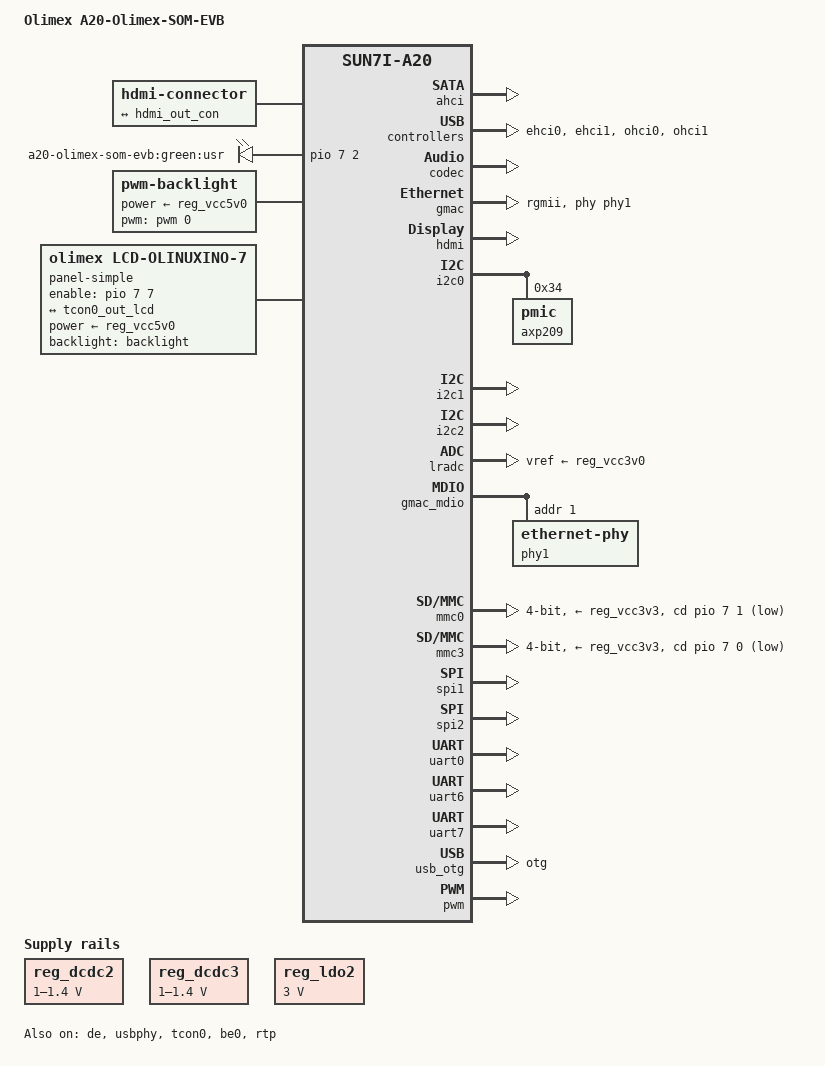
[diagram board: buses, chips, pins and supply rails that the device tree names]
/*
 * Copyright 2015 - Marcus Cooper <codekipper@gmail.com>
 * Copyright 2015 - Karsten Merker <merker@debian.org>
 *
 * This file is dual-licensed: you can use it either under the terms
 * of the GPL or the X11 license, at your option. Note that this dual
 * licensing only applies to this file, and not this project as a
 * whole.
 *
 *  a) This file is free software; you can redistribute it and/or
 *     modify it under the terms of the GNU General Public License as
 *     published by the Free Software Foundation; either version 2 of the
 *     License, or (at your option) any later version.
 *
 *     This file is distributed in the hope that it will be useful,
 *     but WITHOUT ANY WARRANTY; without even the implied warranty of
 *     MERCHANTABILITY or FITNESS FOR A PARTICULAR PURPOSE.  See the
 *     GNU General Public License for more details.
 *
 * Or, alternatively,
 *
 *  b) Permission is hereby granted, free of charge, to any person
 *     obtaining a copy of this software and associated documentation
 *     files (the "Software"), to deal in the Software without
 *     restriction, including without limitation the rights to use,
 *     copy, modify, merge, publish, distribute, sublicense, and/or
 *     sell copies of the Software, and to permit persons to whom the
 *     Software is furnished to do so, subject to the following
 *     conditions:
 *
 *     The above copyright notice and this permission notice shall be
 *     included in all copies or substantial portions of the Software.
 *
 *     THE SOFTWARE IS PROVIDED "AS IS", WITHOUT WARRANTY OF ANY KIND,
 *     EXPRESS OR IMPLIED, INCLUDING BUT NOT LIMITED TO THE WARRANTIES
 *     OF MERCHANTABILITY, FITNESS FOR A PARTICULAR PURPOSE AND
 *     NONINFRINGEMENT. IN NO EVENT SHALL THE AUTHORS OR COPYRIGHT
 *     HOLDERS BE LIABLE FOR ANY CLAIM, DAMAGES OR OTHER LIABILITY,
 *     WHETHER IN AN ACTION OF CONTRACT, TORT OR OTHERWISE, ARISING
 *     FROM, OUT OF OR IN CONNECTION WITH THE SOFTWARE OR THE USE OR
 *     OTHER DEALINGS IN THE SOFTWARE.
 */

/dts-v1/;
#include "sun7i-a20.dtsi"
#include "sunxi-common-regulators.dtsi"

#include <dt-bindings/gpio/gpio.h>
#include <dt-bindings/input/input.h>
#include <dt-bindings/interrupt-controller/irq.h>

/ {
	model = "Olimex A20-Olimex-SOM-EVB";
	compatible = "olimex,a20-olimex-som-evb", "allwinner,sun7i-a20";

	aliases {
		serial0 = &uart0;
	};

	chosen {
		#address-cells = <1>;
		#size-cells = <1>;
		
		stdout-path = "serial0:115200n8";

		framebuffer-lcd0 {
			reg = <0x20000000 1536000>;
			width = <800>;
			stride = <3200>;
			height = <480>;
			format = "a8r8g8b8";
			status = "okay";
		};
	};

	hdmi-connector {
		compatible = "hdmi-connector";
		type = "a";

		port {
			hdmi_con_in: endpoint {
				remote-endpoint = <&hdmi_out_con>;
			};
		};
	};

	leds {
		compatible = "gpio-leds";

		green1 {
			label = "a20-olimex-som-evb:green:usr";
			gpios = <&pio 7 2 GPIO_ACTIVE_HIGH>;
			default-state = "on";
		};
	};

	backlight: backlight {
		compatible = "pwm-backlight";
		power-supply = <&reg_vcc5v0>;
		pwms = <&pwm 0 1000000 0>;
		brightness-levels = <0 10 20 30 40 50 60 70 80 90 100>;
		default-brightness-level = <8>;
	};

	panel-simple {
		compatible = "olimex,lcd-olinuxino-7";
		status = "okay";

		enable-gpios = <&pio 7 7 GPIO_ACTIVE_HIGH>;
		power-supply = <&reg_vcc5v0>;

		backlight = <&backlight>;

		port {
			panel_input: endpoint@0 {
				remote-endpoint = <&tcon0_out_lcd>;
			};
		};
	};
};

&ahci {
	target-supply = <&reg_ahci_5v>;
	status = "okay";
};

&de {
	status = "okay";
};

&ehci0 {
	status = "okay";
};

&ehci1 {
	status = "okay";
};

&cpu0 {
	cpu-supply = <&reg_dcdc2>;
};

&codec {
	status = "okay";
};

&gmac {
	pinctrl-names = "default";
	pinctrl-0 = <&gmac_rgmii_pins>;
	phy-handle = <&phy1>;
	phy-mode = "rgmii";
	status = "okay";
};

&hdmi {
	status = "okay";
};

&hdmi_out {
	hdmi_out_con: endpoint {
		remote-endpoint = <&hdmi_con_in>;
	};
};

&i2c0 {
	status = "okay";

	axp209: pmic@34 {
		reg = <0x34>;
		interrupt-parent = <&nmi_intc>;
		interrupts = <0 IRQ_TYPE_LEVEL_LOW>;
	};
};

&i2c1 {
	status = "okay";
};

&i2c2 {
	status = "okay";
};

&lradc {
	vref-supply = <&reg_vcc3v0>;
	status = "okay";

	button-190 {
		label = "Volume Up";
		linux,code = <KEY_VOLUMEUP>;
		channel = <0>;
		voltage = <190000>;
	};

	button-390 {
		label = "Volume Down";
		linux,code = <KEY_VOLUMEDOWN>;
		channel = <0>;
		voltage = <390000>;
	};

	button-600 {
		label = "Menu";
		linux,code = <KEY_MENU>;
		channel = <0>;
		voltage = <600000>;
	};

	button-800 {
		label = "Search";
		linux,code = <KEY_SEARCH>;
		channel = <0>;
		voltage = <800000>;
	};

	button-980 {
		label = "Home";
		linux,code = <KEY_HOMEPAGE>;
		channel = <0>;
		voltage = <980000>;
	};

	button-1180 {
		label = "Esc";
		linux,code = <KEY_ESC>;
		channel = <0>;
		voltage = <1180000>;
	};

	button-1400 {
		label = "Enter";
		linux,code = <KEY_ENTER>;
		channel = <0>;
		voltage = <1400000>;
	};
};

&gmac_mdio {
	phy1: ethernet-phy@1 {
		reg = <1>;
	};
};

&mmc0 {
	vmmc-supply = <&reg_vcc3v3>;
	bus-width = <4>;
	cd-gpios = <&pio 7 1 GPIO_ACTIVE_LOW>; /* PH1 */
	status = "okay";
};

&mmc3 {
	vmmc-supply = <&reg_vcc3v3>;
	bus-width = <4>;
	cd-gpios = <&pio 7 0 GPIO_ACTIVE_LOW>; /* PH0 */
	status = "okay";
};

&ohci0 {
	status = "okay";
};

&ohci1 {
	status = "okay";
};

&otg_sram {
	status = "okay";
};

&pio {
	led_pins_olimex_som_evb: led-pins {
		pins = "PH2";
		function = "gpio_out";
		drive-strength = <20>;
	};
};

&reg_ahci_5v {
	gpio = <&pio 2 3 GPIO_ACTIVE_HIGH>;
	status = "okay";
};

#include "axp209.dtsi"

&reg_dcdc2 {
	regulator-always-on;
	regulator-min-microvolt = <1000000>;
	regulator-max-microvolt = <1400000>;
	regulator-name = "vdd-cpu";
};

&reg_dcdc3 {
	regulator-always-on;
	regulator-min-microvolt = <1000000>;
	regulator-max-microvolt = <1400000>;
	regulator-name = "vdd-int-dll";
};

&reg_ldo1 {
	regulator-name = "vdd-rtc";
};

&reg_ldo2 {
	regulator-always-on;
	regulator-min-microvolt = <3000000>;
	regulator-max-microvolt = <3000000>;
	regulator-name = "avcc";
};

&reg_usb0_vbus {
	status = "okay";
};

&reg_usb1_vbus {
	status = "okay";
};

&reg_usb2_vbus {
	status = "okay";
};

&spi1 {
	pinctrl-names = "default";
	pinctrl-0 = <&spi1_pi_pins>,
		    <&spi1_cs0_pi_pin>;
	status = "okay";
};

&spi2 {
	pinctrl-names = "default";
	pinctrl-0 = <&spi2_pc_pins>,
		    <&spi2_cs0_pc_pin>;
	status = "okay";
};

&uart0 {
	pinctrl-names = "default";
	pinctrl-0 = <&uart0_pb_pins>;
	status = "okay";
};

&uart6 {
	pinctrl-names = "default";
	pinctrl-0 = <&uart6_pi_pins>;
	status = "okay";
};

&uart7 {
	pinctrl-names = "default";
	pinctrl-0 = <&uart7_pi_pins>;
	status = "okay";
};

&usb_otg {
	dr_mode = "otg";
	status = "okay";
};

&usbphy {
	usb0_id_det-gpios = <&pio 7 4 GPIO_ACTIVE_HIGH>; /* PH04 */
	usb0_vbus_det-gpios = <&pio 7 5 GPIO_ACTIVE_HIGH>; /* PH05 */
	usb0_vbus-supply = <&reg_usb0_vbus>;
	usb1_vbus-supply = <&reg_usb1_vbus>;
	usb2_vbus-supply = <&reg_usb2_vbus>;
	status = "okay";
};

&pio {
	lcd0_rgb888_pins: lcd0_rgb888_pins@0 {
		pins = "PD0", "PD1", "PD2", "PD3", "PD4", "PD5",
			"PD6", "PD7", "PD8", "PD9", "PD10",
			"PD11", "PD12", "PD13", "PD14", "PD15",
			"PD16", "PD17", "PD18", "PD19", "PD20",
			"PD21", "PD22", "PD23", "PD24", "PD25",
			"PD26", "PD27";
		function = "lcd0";
	};
};

&pwm {
	pinctrl-names = "default";
	pinctrl-0 = <&pwm0_pin>;
	status = "okay";
};

&tcon0 {
	pinctrl-names = "default";
	pinctrl-0 = <&lcd0_rgb888_pins>;
	status = "okay";
};

&tcon0_out {
	#address-cells = <1>;
	#size-cells = <0>;
	tcon0_out_lcd: endpoint@0 {
		reg = <0>;
		remote-endpoint = <&panel_input>;
	};
};

&be0 {
	status = "okay";
};

&rtp {
	allwinner,ts-attached = "true";
	status = "okay";
};
